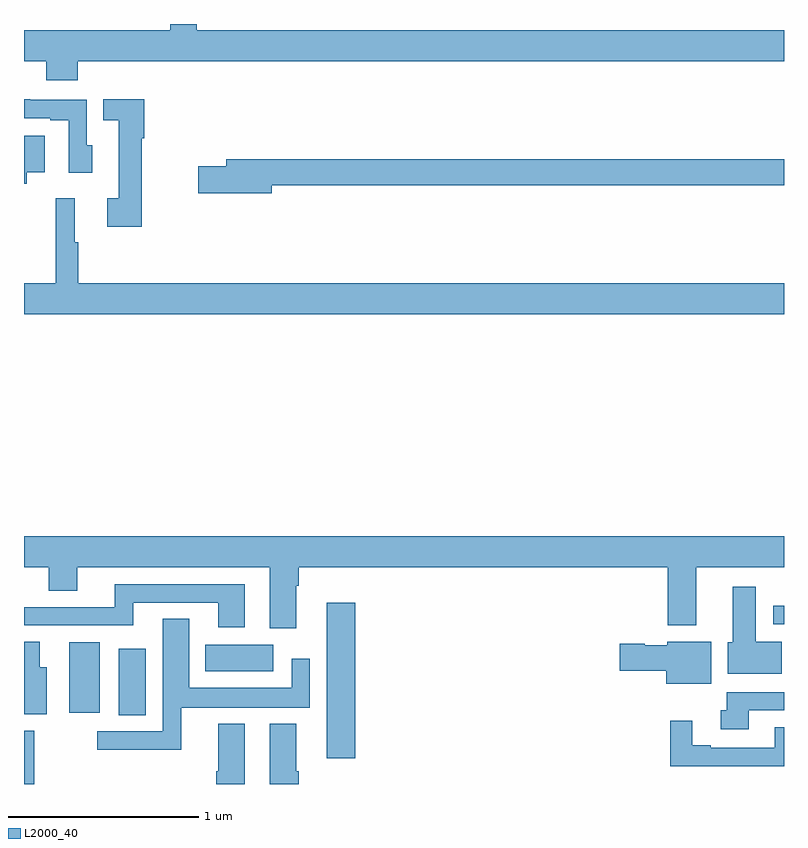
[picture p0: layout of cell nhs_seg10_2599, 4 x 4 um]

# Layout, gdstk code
import gdstk
lib = gdstk.Library(unit=1e-6, precision=1e-09)
def R(c, l, rs):  # rectangles x0, y0, x1, y1
    for r in rs: c.add(gdstk.rectangle(r[:2], r[2:], *l))
def P(c, l, *ps):  # polygons
    for p in ps: c.add(gdstk.Polygon(p, *l))
L2000_40 = (2000, 40)

nhs_seg10_2599 = lib.new_cell('nhs_seg10_2599')
R(nhs_seg10_2599, L2000_40, [(251,1308.5,251.055,1308.781), (252.593,1308.636,252.743,1309.453), (251.498,1308.862,251.641,1309.213), (251.237,1308.876,251.398,1309.246), (251.954,1309.094,252.313,1309.234), (254.943,1309.341,255,1309.439)])
P(nhs_seg10_2599, L2000_40, [(251.282,1312.304),(255,1312.304),(255,1312.468),(251.908,1312.468),(251.908,1312.5),(251.769,1312.5),(251.769,1312.468),(251,1312.468),(251,1312.304),(251.117,1312.304),(251.117,1312.205),(251.282,1312.205)],
  [(251.359,1311.861),(251.331,1311.861),(251.331,1312.101),(251.033,1312.101),(251.033,1312.103),(251,1312.103),(251,1312.005),(251.138,1312.005),(251.138,1311.993),(251.235,1311.993),(251.235,1311.717),(251.359,1311.717)],
  [(251.62,1311.898),(251.633,1311.898),(251.633,1312.103),(251.416,1312.103),(251.416,1311.993),(251.498,1311.993),(251.498,1311.582),(251.439,1311.582),(251.439,1311.434),(251.62,1311.434)],
  [(251.014,1311.719),(251.11,1311.719),(251.11,1311.913),(251,1311.913),(251,1311.659),(251.014,1311.659)],
  [(252.304,1311.652),(255,1311.652),(255,1311.788),(252.065,1311.788),(252.065,1311.752),(251.916,1311.752),(251.916,1311.61),(252.304,1311.61)],
  [(255,1311.136),(251.285,1311.136),(251.285,1311.351),(251.266,1311.351),(251.266,1311.583),(251.168,1311.583),(251.168,1311.136),(251,1311.136),(251,1310.972),(255,1310.972)],
  [(252.433,1309.544),(252.446,1309.544),(252.446,1309.64),(254.387,1309.64),(254.387,1309.335),(254.539,1309.335),(254.539,1309.64),(255,1309.64),(255,1309.804),(251,1309.804),(251,1309.64),(251.129,1309.64),(251.129,1309.516),(251.281,1309.516),(251.281,1309.64),(252.293,1309.64),(252.293,1309.32),(252.433,1309.32)],
  [(252.163,1309.551),(251.477,1309.551),(251.477,1309.431),(251,1309.431),(251,1309.335),(251.575,1309.335),(251.575,1309.455),(252.023,1309.455),(252.023,1309.326),(252.163,1309.326)],
  [(254.989,1309.249),(254.851,1309.249),(254.851,1309.537),(254.729,1309.537),(254.729,1309.245),(254.705,1309.245),(254.705,1309.079),(254.989,1309.079)],
  [(251.828,1308.902),(252.504,1308.902),(252.504,1309.159),(252.408,1309.159),(252.408,1309.006),(251.869,1309.006),(251.869,1309.37),(251.729,1309.37),(251.729,1308.777),(251.385,1308.777),(251.385,1308.68),(251.828,1308.68)],
  [(251.119,1309.114),(251.083,1309.114),(251.083,1309.25),(251,1309.25),(251,1308.866),(251.119,1308.866)],
  [(254.617,1309.249),(254.385,1309.249),(254.385,1309.231),(254.267,1309.231),(254.267,1309.239),(254.136,1309.239),(254.136,1309.097),(254.381,1309.097),(254.381,1309.028),(254.617,1309.028)],
  [(254.815,1308.888),(255,1308.888),(255,1308.984),(254.698,1308.984),(254.698,1308.887),(254.667,1308.887),(254.667,1308.789),(254.815,1308.789)],
  [(255,1308.799),(254.951,1308.799),(254.951,1308.69),(254.614,1308.69),(254.614,1308.703),(254.518,1308.703),(254.518,1308.832),(254.401,1308.832),(254.401,1308.594),(255,1308.594)],
  [(252.163,1308.817),(252.023,1308.817),(252.023,1308.568),(252.011,1308.568),(252.011,1308.5),(252.163,1308.5)],
  [(252.446,1308.568),(252.433,1308.568),(252.433,1308.817),(252.293,1308.817),(252.293,1308.5),(252.446,1308.5)])

lib.write_gds('nhs_seg10_2599.gds')
